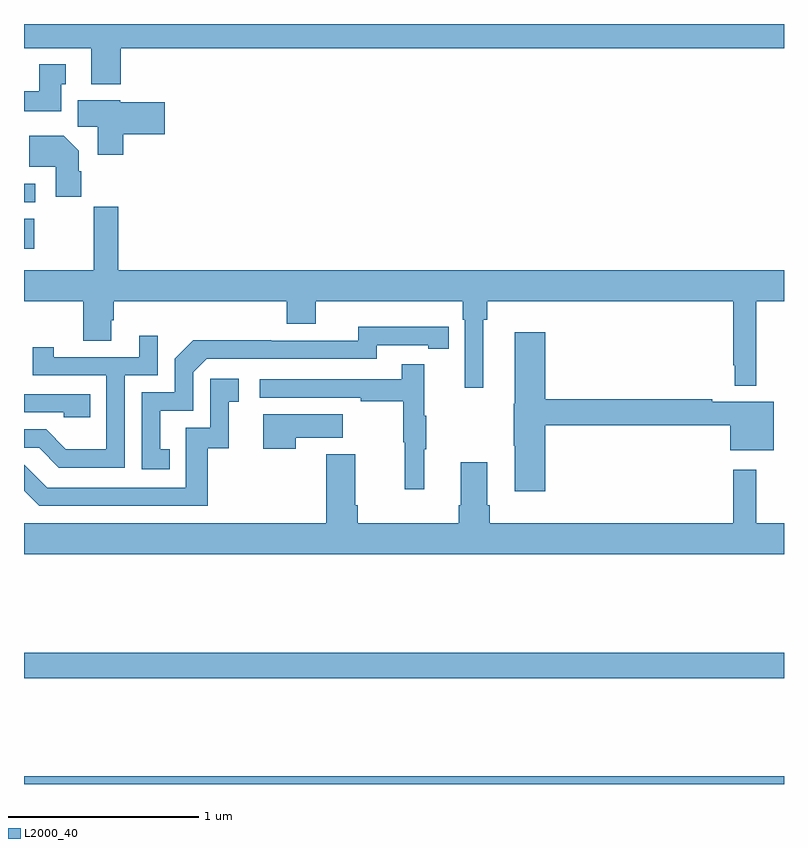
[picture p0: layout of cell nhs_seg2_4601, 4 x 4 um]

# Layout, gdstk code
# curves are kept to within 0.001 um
import gdstk
lib = gdstk.Library(unit=1e-6, precision=1e-09)
def R(c, l, rs):  # rectangles x0, y0, x1, y1
    for r in rs: c.add(gdstk.rectangle(r[:2], r[2:], *l))
def P(c, l, *ps):  # polygons
    for p in ps: c.add(gdstk.Polygon(p, *l))
L2000_40 = (2000, 40)

nhs_seg2_4601 = lib.new_cell('nhs_seg2_4601')
R(nhs_seg2_4601, L2000_40, [(361,607.8,365,607.84), (361,608.356,365,608.492), (361,610.616,361.054,610.774), (361,610.863,361.06,610.959)])
P(nhs_seg2_4601, L2000_40, [(361.508,611.672),(365,611.672),(365,611.8),(361,611.8),(361,611.672),(361.355,611.672),(361.355,611.483),(361.508,611.483)],
  [(361.195,611.484),(361.219,611.484),(361.219,611.587),(361.079,611.587),(361.079,611.446),(361,611.446),(361,611.342),(361.195,611.342)],
  [(361.523,611.219),(361.741,611.219),(361.741,611.389),(361.506,611.389),(361.506,611.398),(361.283,611.398),(361.283,611.26),(361.388,611.26),(361.388,611.112),(361.523,611.112)],
  [(361.301,611.024),(361.288,611.024),(361.288,611.134),(361.21,611.212),(361.027,611.212),(361.027,611.048),(361.166,611.048),(361.166,610.89),(361.301,610.89)],
  [(363.418,610.244),(363.437,610.244),(363.437,610.34),(364.734,610.34),(364.734,610.003),(364.74,610.003),(364.74,609.896),(364.855,609.896),(364.855,610.34),(365,610.34),(365,610.504),(361.496,610.504),(361.496,610.837),(361.368,610.837),(361.368,610.504),(361,610.504),(361,610.34),(361.312,610.34),(361.312,610.132),(361.459,610.132),(361.459,610.242),(361.472,610.242),(361.472,610.34),(362.384,610.34),(362.384,610.223),(362.536,610.223),(362.536,610.34),(363.308,610.34),(363.308,610.244),(363.321,610.244),(363.321,609.885),(363.418,609.885)],
  [(361.766,609.561),(361.717,609.561),(361.717,609.765),(361.89,609.765),(361.89,609.966),(361.962,610.038),(362.856,610.038),(362.856,610.11),(363.128,610.11),(363.128,610.09),(363.236,610.09),(363.236,610.206),(362.76,610.207),(362.76,610.134),(362.3,610.134),(362.3,610.136),(361.892,610.136),(361.794,610.038),(361.794,609.861),(361.62,609.861),(361.62,609.456),(361.766,609.456)],
  [(363.743,609.688),(364.718,609.688),(364.718,609.557),(364.945,609.557),(364.945,609.811),(364.622,609.811),(364.622,609.824),(363.743,609.824),(363.743,610.177),(363.584,610.177),(363.584,609.801),(363.577,609.801),(363.577,609.58),(363.584,609.58),(363.584,609.342),(363.743,609.342)],
  [(361.53,609.951),(361.704,609.951),(361.704,610.159),(361.607,610.159),(361.607,610.047),(361.156,610.047),(361.156,610.099),(361.045,610.099),(361.045,609.951),(361.434,609.951),(361.434,609.562),(361.22,609.562),(361.116,609.666),(361,609.666),(361,609.57),(361.079,609.57),(361.184,609.465),(361.53,609.465)],
  [(363.107,609.563),(363.118,609.563),(363.118,609.737),(363.107,609.737),(363.107,610.009),(362.989,610.009),(362.989,609.93),(362.241,609.93),(362.241,609.834),(362.773,609.834),(362.773,609.814),(362.997,609.814),(362.997,609.6),(363.004,609.6),(363.004,609.351),(363.107,609.351)],
  [(361.967,609.567),(362.078,609.567),(362.078,609.813),(362.131,609.813),(362.131,609.934),(361.98,609.934),(361.98,609.675),(361.851,609.675),(361.851,609.36),(361.122,609.36),(361.002,609.48),(361,609.48),(361,609.344),(361.08,609.264),(361.967,609.264)],
  [(361.349,609.852),(361,609.852),(361,609.756),(361.209,609.756),(361.209,609.729),(361.349,609.729)],
  [(362.429,609.623),(362.677,609.623),(362.677,609.745),(362.258,609.745),(362.258,609.564),(362.429,609.564)],
  [(365,609.172),(364.855,609.172),(364.855,609.454),(364.734,609.454),(364.734,609.172),(363.452,609.172),(363.452,609.268),(363.439,609.268),(363.439,609.493),(363.299,609.493),(363.299,609.268),(363.287,609.268),(363.287,609.172),(362.756,609.172),(362.756,609.268),(362.743,609.268),(362.743,609.535),(362.591,609.535),(362.591,609.172),(361,609.172),(361,609.008),(365,609.008)])

lib.write_gds('nhs_seg2_4601.gds')
